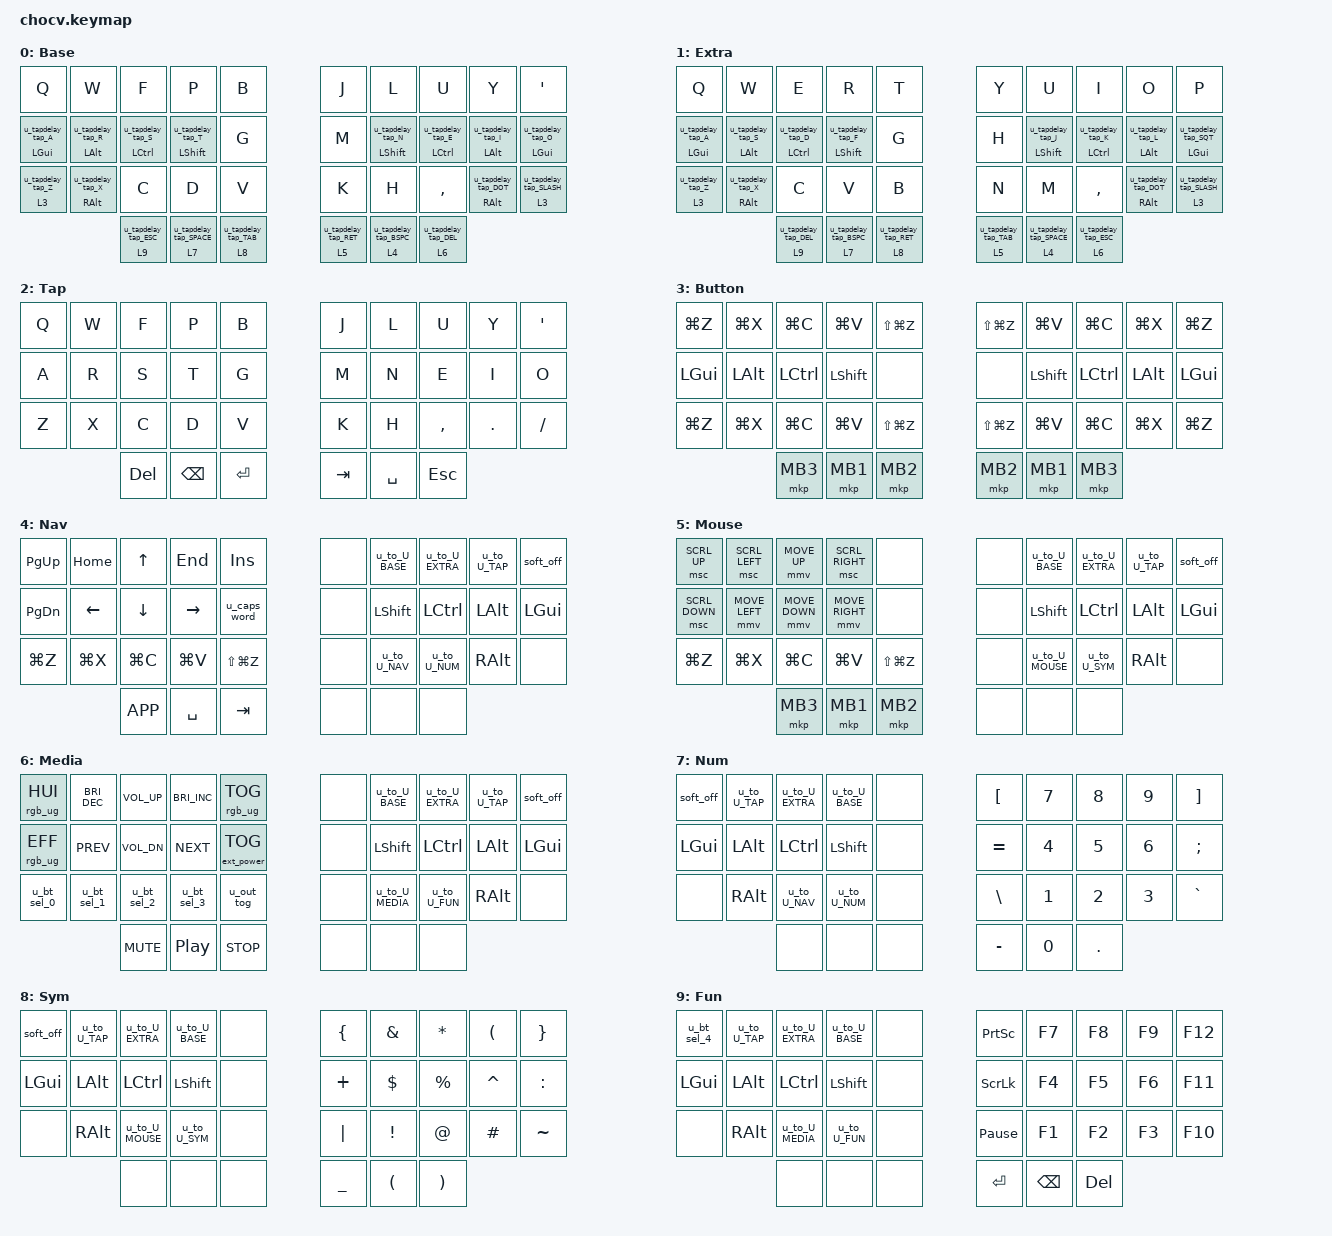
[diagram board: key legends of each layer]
#include <behaviors/mouse_keys.dtsi>
#include <behaviors.dtsi>
#include <dt-bindings/zmk/bt.h>
#include <dt-bindings/zmk/ext_power.h>
#include <dt-bindings/zmk/keys.h>
#include <dt-bindings/zmk/outputs.h>
#include <dt-bindings/zmk/pointing.h>
#include <dt-bindings/zmk/rgb.h>

/ {
    keymap {
        compatible = "zmk,keymap";

        BASE {
            display-name = "Base";
            bindings = <
&kp Q                    &kp W                    &kp F                     &kp P                     &kp B                     &kp J                   &kp L                     &kp U                     &kp Y                      &kp SQT
&u_tapdelay_mt_A LGUI 0  &u_tapdelay_mt_R LALT 0  &u_tapdelay_mt_S LCTRL 0  &u_tapdelay_mt_T LSHFT 0  &kp G                     &kp M                   &u_tapdelay_mt_N LSHFT 0  &u_tapdelay_mt_E LCTRL 0  &u_tapdelay_mt_I LALT 0    &u_tapdelay_mt_O LGUI 0
&u_tapdelay_lt_Z 3 0     &u_tapdelay_mt_X RALT 0  &kp C                     &kp D                     &kp V                     &kp K                   &kp H                     &kp COMMA                 &u_tapdelay_mt_DOT RALT 0  &u_tapdelay_lt_SLASH 3 0
                                                  &u_tapdelay_lt_ESC 9 0    &u_tapdelay_lt_SPACE 7 0  &u_tapdelay_lt_TAB 8 0    &u_tapdelay_lt_RET 5 0  &u_tapdelay_lt_BSPC 4 0   &u_tapdelay_lt_DEL 6 0
            >;
        };

        EXTRA {
            display-name = "Extra";
            bindings = <
&kp Q                    &kp W                    &kp E                     &kp R                     &kp T                     &kp Y                   &kp U                     &kp I                     &kp O                      &kp P
&u_tapdelay_mt_A LGUI 0  &u_tapdelay_mt_S LALT 0  &u_tapdelay_mt_D LCTRL 0  &u_tapdelay_mt_F LSHFT 0  &kp G                     &kp H                   &u_tapdelay_mt_J LSHFT 0  &u_tapdelay_mt_K LCTRL 0  &u_tapdelay_mt_L LALT 0    &u_tapdelay_mt_SQT LGUI 0
&u_tapdelay_lt_Z 3 0     &u_tapdelay_mt_X RALT 0  &kp C                     &kp V                     &kp B                     &kp N                   &kp M                     &kp COMMA                 &u_tapdelay_mt_DOT RALT 0  &u_tapdelay_lt_SLASH 3 0
                                                  &u_tapdelay_lt_DEL 9 0    &u_tapdelay_lt_BSPC 7 0   &u_tapdelay_lt_RET 8 0    &u_tapdelay_lt_TAB 5 0  &u_tapdelay_lt_SPACE 4 0  &u_tapdelay_lt_ESC 6 0
            >;
        };

        TAP {
            display-name = "Tap";
            bindings = <
&kp Q  &kp W  &kp F    &kp P     &kp B      &kp J    &kp L      &kp U      &kp Y    &kp SQT
&kp A  &kp R  &kp S    &kp T     &kp G      &kp M    &kp N      &kp E      &kp I    &kp O
&kp Z  &kp X  &kp C    &kp D     &kp V      &kp K    &kp H      &kp COMMA  &kp DOT  &kp SLASH
              &kp DEL  &kp BSPC  &kp RET    &kp TAB  &kp SPACE  &kp ESC
            >;
        };

        BUTTON {
            display-name = "Button";
            bindings = <
&kp LG(Z)  &kp LG(X)  &kp LG(C)  &kp LG(V)  &kp LS(LG(Z))    &kp LS(LG(Z))  &kp LG(V)  &kp LG(C)  &kp LG(X)  &kp LG(Z)
&kp LGUI   &kp LALT   &kp LCTRL  &kp LSHFT  &none            &none          &kp LSHFT  &kp LCTRL  &kp LALT   &kp LGUI
&kp LG(Z)  &kp LG(X)  &kp LG(C)  &kp LG(V)  &kp LS(LG(Z))    &kp LS(LG(Z))  &kp LG(V)  &kp LG(C)  &kp LG(X)  &kp LG(Z)
                      &mkp MB3   &mkp MB1   &mkp MB2         &mkp MB2       &mkp MB1   &mkp MB3
            >;
        };

        NAV {
            display-name = "Nav";
            bindings = <
&kp PG_UP  &kp HOME   &kp UP     &kp END    &kp INS          &none  &u_to_U_BASE  &u_to_U_EXTRA  &u_to_U_TAP  &soft_off
&kp PG_DN  &kp LEFT   &kp DOWN   &kp RIGHT  &u_caps_word     &none  &kp LSHFT     &kp LCTRL      &kp LALT     &kp LGUI
&kp LG(Z)  &kp LG(X)  &kp LG(C)  &kp LG(V)  &kp LS(LG(Z))    &none  &u_to_U_NAV   &u_to_U_NUM    &kp RALT     &none
                      &kp K_APP  &kp SPACE  &kp TAB          &none  &none         &none
            >;
        };

        MOUSE {
            display-name = "Mouse";
            bindings = <
&msc SCRL_UP    &msc SCRL_LEFT  &mmv MOVE_UP    &msc SCRL_RIGHT  &none            &none  &u_to_U_BASE   &u_to_U_EXTRA  &u_to_U_TAP  &soft_off
&msc SCRL_DOWN  &mmv MOVE_LEFT  &mmv MOVE_DOWN  &mmv MOVE_RIGHT  &none            &none  &kp LSHFT      &kp LCTRL      &kp LALT     &kp LGUI
&kp LG(Z)       &kp LG(X)       &kp LG(C)       &kp LG(V)        &kp LS(LG(Z))    &none  &u_to_U_MOUSE  &u_to_U_SYM    &kp RALT     &none
                                &mkp MB3        &mkp MB1         &mkp MB2         &none  &none          &none
            >;
        };

        MEDIA {
            display-name = "Media";
            bindings = <
&rgb_ug RGB_HUI  &kp C_BRIGHTNESS_DEC  &kp C_VOL_UP  &kp C_BRIGHTNESS_INC  &rgb_ug RGB_TOG      &none  &u_to_U_BASE   &u_to_U_EXTRA  &u_to_U_TAP  &soft_off
&rgb_ug RGB_EFF  &kp C_PREV            &kp C_VOL_DN  &kp C_NEXT            &ext_power EP_TOG    &none  &kp LSHFT      &kp LCTRL      &kp LALT     &kp LGUI
&u_bt_sel_0      &u_bt_sel_1           &u_bt_sel_2   &u_bt_sel_3           &u_out_tog           &none  &u_to_U_MEDIA  &u_to_U_FUN    &kp RALT     &none
                                       &kp C_MUTE    &kp C_PP              &kp C_STOP           &none  &none          &none
            >;
        };

        NUM {
            display-name = "Num";
            bindings = <
&soft_off  &u_to_U_TAP  &u_to_U_EXTRA  &u_to_U_BASE  &none    &kp LBKT   &kp N7  &kp N8   &kp N9  &kp RBKT
&kp LGUI   &kp LALT     &kp LCTRL      &kp LSHFT     &none    &kp EQUAL  &kp N4  &kp N5   &kp N6  &kp SEMI
&none      &kp RALT     &u_to_U_NAV    &u_to_U_NUM   &none    &kp BSLH   &kp N1  &kp N2   &kp N3  &kp GRAVE
                        &none          &none         &none    &kp MINUS  &kp N0  &kp DOT
            >;
        };

        SYM {
            display-name = "Sym";
            bindings = <
&soft_off  &u_to_U_TAP  &u_to_U_EXTRA  &u_to_U_BASE  &none    &kp LBRC   &kp AMPS  &kp ASTRK  &kp LPAR   &kp RBRC
&kp LGUI   &kp LALT     &kp LCTRL      &kp LSHFT     &none    &kp PLUS   &kp DLLR  &kp PRCNT  &kp CARET  &kp COLON
&none      &kp RALT     &u_to_U_MOUSE  &u_to_U_SYM   &none    &kp PIPE   &kp EXCL  &kp AT     &kp HASH   &kp TILDE
                        &none          &none         &none    &kp UNDER  &kp LPAR  &kp RPAR
            >;
        };

        FUN {
            display-name = "Fun";
            bindings = <
&u_bt_sel_4  &u_to_U_TAP  &u_to_U_EXTRA  &u_to_U_BASE  &none    &kp PSCRN        &kp F7    &kp F8   &kp F9  &kp F12
&kp LGUI     &kp LALT     &kp LCTRL      &kp LSHFT     &none    &kp SLCK         &kp F4    &kp F5   &kp F6  &kp F11
&none        &kp RALT     &u_to_U_MEDIA  &u_to_U_FUN   &none    &kp PAUSE_BREAK  &kp F1    &kp F2   &kp F3  &kp F10
                          &none          &none         &none    &kp RET          &kp BSPC  &kp DEL
            >;
        };
    };
};

/ {
    macros {
        u_macro_u_bt_sel_0: u_macro_u_bt_sel_0 {
            compatible = "zmk,behavior-macro";
            #binding-cells = <0>;
            wait-ms = <0>;
            bindings = <&bt BT_SEL 0 &bt BT_CLR>;
        };
    };
};

/ {
    behaviors {
        lpar_lt: lpar_lt {
            compatible = "zmk,behavior-mod-morph";
            #binding-cells = <0>;
            bindings = <&kp LEFT_PARENTHESIS>, <&kp LESS_THAN>;

            mods = <(MOD_LSFT|MOD_RSFT)>;
        };

        rpar_gt: rpar_gt {
            compatible = "zmk,behavior-mod-morph";
            #binding-cells = <0>;
            bindings = <&kp RIGHT_PARENTHESIS>, <&kp GREATER_THAN>;

            mods = <(MOD_LSFT|MOD_RSFT)>;
        };
    };
};

/ {
    behaviors {
        u_bt_sel_0: u_bt_sel_0 {
            compatible = "zmk,behavior-mod-morph";
            #binding-cells = <0>;
            bindings = <&bt BT_SEL 0>, <&u_macro_u_bt_sel_0>;

            mods = <(MOD_LSFT|MOD_RSFT)>;
        };
    };
};

/ {
    macros {
        u_macro_u_bt_sel_1: u_macro_u_bt_sel_1 {
            compatible = "zmk,behavior-macro";
            #binding-cells = <0>;
            wait-ms = <0>;
            bindings = <&bt BT_SEL 1 &bt BT_CLR>;
        };
    };
};

/ {
    behaviors {
        u_bt_sel_1: u_bt_sel_1 {
            compatible = "zmk,behavior-mod-morph";
            #binding-cells = <0>;
            bindings = <&bt BT_SEL 1>, <&u_macro_u_bt_sel_1>;

            mods = <(MOD_LSFT|MOD_RSFT)>;
        };
    };
};

/ {
    macros {
        u_macro_u_bt_sel_2: u_macro_u_bt_sel_2 {
            compatible = "zmk,behavior-macro";
            #binding-cells = <0>;
            wait-ms = <0>;
            bindings = <&bt BT_SEL 2 &bt BT_CLR>;
        };
    };
};

/ {
    behaviors {
        u_bt_sel_2: u_bt_sel_2 {
            compatible = "zmk,behavior-mod-morph";
            #binding-cells = <0>;
            bindings = <&bt BT_SEL 2>, <&u_macro_u_bt_sel_2>;

            mods = <(MOD_LSFT|MOD_RSFT)>;
        };
    };
};

/ {
    macros {
        u_macro_u_bt_sel_3: u_macro_u_bt_sel_3 {
            compatible = "zmk,behavior-macro";
            #binding-cells = <0>;
            wait-ms = <0>;
            bindings = <&bt BT_SEL 3 &bt BT_CLR>;
        };
    };
};

/ {
    behaviors {
        u_bt_sel_3: u_bt_sel_3 {
            compatible = "zmk,behavior-mod-morph";
            #binding-cells = <0>;
            bindings = <&bt BT_SEL 3>, <&u_macro_u_bt_sel_3>;

            mods = <(MOD_LSFT|MOD_RSFT)>;
        };
    };
};

/ {
    macros {
        u_macro_u_bt_sel_4: u_macro_u_bt_sel_4 {
            compatible = "zmk,behavior-macro";
            #binding-cells = <0>;
            wait-ms = <0>;
            bindings = <&bt BT_SEL 4 &bt BT_CLR>;
        };
    };
};

/ {
    behaviors {
        u_bt_sel_4: u_bt_sel_4 {
            compatible = "zmk,behavior-mod-morph";
            #binding-cells = <0>;
            bindings = <&bt BT_SEL 4>, <&u_macro_u_bt_sel_4>;

            mods = <(MOD_LSFT|MOD_RSFT)>;
        };
    };
};

/ {
    behaviors {
        u_out_tog: u_out_tog {
            compatible = "zmk,behavior-mod-morph";
            #binding-cells = <0>;
            bindings = <&out OUT_TOG>, <&out OUT_USB>;

            mods = <(MOD_LSFT|MOD_RSFT)>;
        };
    };
};

/ {
    behaviors {
        u_caps_word: u_caps_word {
            compatible = "zmk,behavior-mod-morph";
            #binding-cells = <0>;
            bindings = <&caps_word>, <&kp CAPS>;

            mods = <(MOD_LSFT|MOD_RSFT)>;
        };
    };
};

/ {
    behaviors {
        u_to_U_BASE: u_to_U_BASE {
            compatible = "zmk,behavior-tap-dance";
            #binding-cells = <0>;
            tapping-term-ms = <200>;
            bindings = <&none>, <&to 0>;
        };
    };
};

/ {
    behaviors {
        u_to_U_EXTRA: u_to_U_EXTRA {
            compatible = "zmk,behavior-tap-dance";
            #binding-cells = <0>;
            tapping-term-ms = <200>;
            bindings = <&none>, <&to 1>;
        };
    };
};

/ {
    behaviors {
        u_to_U_TAP: u_to_U_TAP {
            compatible = "zmk,behavior-tap-dance";
            #binding-cells = <0>;
            tapping-term-ms = <200>;
            bindings = <&none>, <&to 2>;
        };
    };
};

/ {
    behaviors {
        u_to_U_BUTTON: u_to_U_BUTTON {
            compatible = "zmk,behavior-tap-dance";
            #binding-cells = <0>;
            tapping-term-ms = <200>;
            bindings = <&none>, <&to 3>;
        };
    };
};

/ {
    behaviors {
        u_to_U_NAV: u_to_U_NAV {
            compatible = "zmk,behavior-tap-dance";
            #binding-cells = <0>;
            tapping-term-ms = <200>;
            bindings = <&none>, <&to 4>;
        };
    };
};

/ {
    behaviors {
        u_to_U_MOUSE: u_to_U_MOUSE {
            compatible = "zmk,behavior-tap-dance";
            #binding-cells = <0>;
            tapping-term-ms = <200>;
            bindings = <&none>, <&to 5>;
        };
    };
};

/ {
    behaviors {
        u_to_U_MEDIA: u_to_U_MEDIA {
            compatible = "zmk,behavior-tap-dance";
            #binding-cells = <0>;
            tapping-term-ms = <200>;
            bindings = <&none>, <&to 6>;
        };
    };
};

/ {
    behaviors {
        u_to_U_NUM: u_to_U_NUM {
            compatible = "zmk,behavior-tap-dance";
            #binding-cells = <0>;
            tapping-term-ms = <200>;
            bindings = <&none>, <&to 7>;
        };
    };
};

/ {
    behaviors {
        u_to_U_SYM: u_to_U_SYM {
            compatible = "zmk,behavior-tap-dance";
            #binding-cells = <0>;
            tapping-term-ms = <200>;
            bindings = <&none>, <&to 8>;
        };
    };
};

/ {
    behaviors {
        u_to_U_FUN: u_to_U_FUN {
            compatible = "zmk,behavior-tap-dance";
            #binding-cells = <0>;
            tapping-term-ms = <200>;
            bindings = <&none>, <&to 9>;
        };
    };
};

&mmv {
    acceleration-exponent = <1>;
    time-to-max-speed-ms = <1500>;
    delay-ms = <0>;
};

/ {
    combos {
        compatible = "zmk,combos";

        thumbcombos_U_BASE_LEFT {
            layers = <0>;
            key-positions = <31 32>;
            bindings = <&lt 9 ESC>;
            timeout-ms = <200>;
        };

        thumbcombos_U_EXTRA_LEFT {
            layers = <1>;
            key-positions = <31 32>;
            bindings = <&lt 9 ESC>;
            timeout-ms = <200>;
        };

        thumbcombos_U_BUTTON_LEFT {
            layers = <3>;
            key-positions = <31 32>;
            bindings = <&mkp MB3>;
            timeout-ms = <200>;
        };

        thumbcombos_U_NAV_LEFT {
            layers = <4>;
            key-positions = <31 32>;
            bindings = <&kp K_APP>;
            timeout-ms = <200>;
        };

        thumbcombos_U_MOUSE_LEFT {
            layers = <5>;
            key-positions = <31 32>;
            bindings = <&mkp MB3>;
            timeout-ms = <200>;
        };

        thumbcombos_U_MEDIA_LEFT {
            layers = <6>;
            key-positions = <31 32>;
            bindings = <&kp C_MUTE>;
            timeout-ms = <200>;
        };

        thumbcombos_U_BASE_RIGHT {
            layers = <0>;
            key-positions = <33 34>;
            bindings = <&lt 6 DEL>;
            timeout-ms = <200>;
        };

        thumbcombos_U_EXTRA_RIGHT {
            layers = <1>;
            key-positions = <33 34>;
            bindings = <&lt 6 DEL>;
            timeout-ms = <200>;
        };

        thumbcombos_U_BUTTON_RIGHT {
            layers = <3>;
            key-positions = <33 34>;
            bindings = <&mkp MB3>;
            timeout-ms = <200>;
        };

        thumbcombos_U_NUM_RIGHT {
            layers = <7>;
            key-positions = <33 34>;
            bindings = <&kp DOT>;
            timeout-ms = <200>;
        };

        thumbcombos_U_SYM_RIGHT {
            layers = <8>;
            key-positions = <33 34>;
            bindings = <&kp RPAR>;
            timeout-ms = <200>;
        };

        thumbcombos_U_FUN_RIGHT {
            layers = <9>;
            key-positions = <33 34>;
            bindings = <&kp DEL>;
            timeout-ms = <200>;
        };

        copy {
            bindings = <&c_c>;
            key-positions = <21 22>;
            layers = <0>;
        };

        paste {
            bindings = <&c_v>;
            key-positions = <23 22>;
            layers = <0>;
        };

        esc_combo {
            bindings = <&kp ESC>;
            key-positions = <2 1>;
            layers = <0>;
        };

        tab_combo {
            bindings = <&kp TAB>;
            key-positions = <3 2>;
            layers = <0>;
        };

        l_par {
            bindings = <&lpar_lt>;
            key-positions = <6 7>;
            layers = <0>;
        };

        r_par {
            bindings = <&rpar_gt>;
            key-positions = <7 8>;
            layers = <0>;
        };
    };
};

/ {
    macros {
        u_tapdelay_tap_A: u_tapdelay_tap_A {
            compatible = "zmk,behavior-macro";
            #binding-cells = <0>;
            bindings = <&macro_press>, <&kp A>, <&macro_release>, <&kp A>;
        };
    };
};

/ {
    behaviors {
        u_tapdelay_mt_A: u_tapdelay_mt_A {
            compatible = "zmk,behavior-hold-tap";
            #binding-cells = <2>;
            tapping-term-ms = <200>;
            flavor = "tap-preferred";
            bindings = <&kp>, <&u_tapdelay_tap_A>;
        };
    };
};

/ {
    behaviors {
        u_tapdelay_lt_A: u_tapdelay_lt_A {
            compatible = "zmk,behavior-hold-tap";
            #binding-cells = <2>;
            tapping-term-ms = <200>;
            flavor = "tap-preferred";
            bindings = <&mo>, <&u_tapdelay_tap_A>;
        };
    };
};

/ {
    macros {
        u_tapdelay_tap_B: u_tapdelay_tap_B {
            compatible = "zmk,behavior-macro";
            #binding-cells = <0>;
            bindings = <&macro_press>, <&kp B>, <&macro_release>, <&kp B>;
        };
    };
};

/ {
    behaviors {
        u_tapdelay_mt_B: u_tapdelay_mt_B {
            compatible = "zmk,behavior-hold-tap";
            #binding-cells = <2>;
            tapping-term-ms = <200>;
            flavor = "tap-preferred";
            bindings = <&kp>, <&u_tapdelay_tap_B>;
        };
    };
};

/ {
    behaviors {
        u_tapdelay_lt_B: u_tapdelay_lt_B {
            compatible = "zmk,behavior-hold-tap";
            #binding-cells = <2>;
            tapping-term-ms = <200>;
            flavor = "tap-preferred";
            bindings = <&mo>, <&u_tapdelay_tap_B>;
        };
    };
};

/ {
    macros {
        u_tapdelay_tap_C: u_tapdelay_tap_C {
            compatible = "zmk,behavior-macro";
            #binding-cells = <0>;
            bindings = <&macro_press>, <&kp C>, <&macro_release>, <&kp C>;
        };
    };
};

/ {
    behaviors {
        u_tapdelay_mt_C: u_tapdelay_mt_C {
            compatible = "zmk,behavior-hold-tap";
            #binding-cells = <2>;
            tapping-term-ms = <200>;
            flavor = "tap-preferred";
            bindings = <&kp>, <&u_tapdelay_tap_C>;
        };
    };
};

/ {
    behaviors {
        u_tapdelay_lt_C: u_tapdelay_lt_C {
            compatible = "zmk,behavior-hold-tap";
            #binding-cells = <2>;
            tapping-term-ms = <200>;
            flavor = "tap-preferred";
            bindings = <&mo>, <&u_tapdelay_tap_C>;
        };
    };
};

/ {
    macros {
        u_tapdelay_tap_D: u_tapdelay_tap_D {
            compatible = "zmk,behavior-macro";
            #binding-cells = <0>;
            bindings = <&macro_press>, <&kp D>, <&macro_release>, <&kp D>;
        };
    };
};

/ {
    behaviors {
        u_tapdelay_mt_D: u_tapdelay_mt_D {
            compatible = "zmk,behavior-hold-tap";
            #binding-cells = <2>;
            tapping-term-ms = <200>;
            flavor = "tap-preferred";
            bindings = <&kp>, <&u_tapdelay_tap_D>;
        };
    };
};

/ {
    behaviors {
        u_tapdelay_lt_D: u_tapdelay_lt_D {
            compatible = "zmk,behavior-hold-tap";
            #binding-cells = <2>;
            tapping-term-ms = <200>;
            flavor = "tap-preferred";
            bindings = <&mo>, <&u_tapdelay_tap_D>;
        };
    };
};

/ {
    macros {
        u_tapdelay_tap_E: u_tapdelay_tap_E {
            compatible = "zmk,behavior-macro";
            #binding-cells = <0>;
            bindings = <&macro_press>, <&kp E>, <&macro_release>, <&kp E>;
        };
    };
};

/ {
    behaviors {
        u_tapdelay_mt_E: u_tapdelay_mt_E {
            compatible = "zmk,behavior-hold-tap";
            #binding-cells = <2>;
            tapping-term-ms = <200>;
            flavor = "tap-preferred";
            bindings = <&kp>, <&u_tapdelay_tap_E>;
        };
    };
};

/ {
    behaviors {
        u_tapdelay_lt_E: u_tapdelay_lt_E {
            compatible = "zmk,behavior-hold-tap";
            #binding-cells = <2>;
            tapping-term-ms = <200>;
            flavor = "tap-preferred";
            bindings = <&mo>, <&u_tapdelay_tap_E>;
        };
    };
};

/ {
    macros {
        u_tapdelay_tap_F: u_tapdelay_tap_F {
            compatible = "zmk,behavior-macro";
            #binding-cells = <0>;
            bindings = <&macro_press>, <&kp F>, <&macro_release>, <&kp F>;
        };
    };
};

/ {
    behaviors {
        u_tapdelay_mt_F: u_tapdelay_mt_F {
            compatible = "zmk,behavior-hold-tap";
            #binding-cells = <2>;
            tapping-term-ms = <200>;
            flavor = "tap-preferred";
            bindings = <&kp>, <&u_tapdelay_tap_F>;
        };
    };
};

/ {
    behaviors {
        u_tapdelay_lt_F: u_tapdelay_lt_F {
            compatible = "zmk,behavior-hold-tap";
            #binding-cells = <2>;
            tapping-term-ms = <200>;
            flavor = "tap-preferred";
            bindings = <&mo>, <&u_tapdelay_tap_F>;
        };
    };
};

/ {
    macros {
        u_tapdelay_tap_G: u_tapdelay_tap_G {
            compatible = "zmk,behavior-macro";
            #binding-cells = <0>;
            bindings = <&macro_press>, <&kp G>, <&macro_release>, <&kp G>;
        };
    };
};

/ {
    behaviors {
        u_tapdelay_mt_G: u_tapdelay_mt_G {
            compatible = "zmk,behavior-hold-tap";
            #binding-cells = <2>;
            tapping-term-ms = <200>;
            flavor = "tap-preferred";
            bindings = <&kp>, <&u_tapdelay_tap_G>;
        };
    };
};

/ {
    behaviors {
        u_tapdelay_lt_G: u_tapdelay_lt_G {
            compatible = "zmk,behavior-hold-tap";
            #binding-cells = <2>;
            tapping-term-ms = <200>;
            flavor = "tap-preferred";
            bindings = <&mo>, <&u_tapdelay_tap_G>;
        };
    };
};

/ {
    macros {
        u_tapdelay_tap_H: u_tapdelay_tap_H {
            compatible = "zmk,behavior-macro";
            #binding-cells = <0>;
            bindings = <&macro_press>, <&kp H>, <&macro_release>, <&kp H>;
        };
    };
};

/ {
    behaviors {
        u_tapdelay_mt_H: u_tapdelay_mt_H {
            compatible = "zmk,behavior-hold-tap";
            #binding-cells = <2>;
            tapping-term-ms = <200>;
            flavor = "tap-preferred";
            bindings = <&kp>, <&u_tapdelay_tap_H>;
        };
    };
};

/ {
    behaviors {
        u_tapdelay_lt_H: u_tapdelay_lt_H {
            compatible = "zmk,behavior-hold-tap";
            #binding-cells = <2>;
            tapping-term-ms = <200>;
            flavor = "tap-preferred";
            bindings = <&mo>, <&u_tapdelay_tap_H>;
        };
    };
};

/ {
    macros {
        u_tapdelay_tap_I: u_tapdelay_tap_I {
            compatible = "zmk,behavior-macro";
            #binding-cells = <0>;
            bindings = <&macro_press>, <&kp I>, <&macro_release>, <&kp I>;
        };
    };
};

/ {
    behaviors {
        u_tapdelay_mt_I: u_tapdelay_mt_I {
            compatible = "zmk,behavior-hold-tap";
            #binding-cells = <2>;
            tapping-term-ms = <200>;
            flavor = "tap-preferred";
            bindings = <&kp>, <&u_tapdelay_tap_I>;
        };
    };
};

/ {
    behaviors {
        u_tapdelay_lt_I: u_tapdelay_lt_I {
            compatible = "zmk,behavior-hold-tap";
            #binding-cells = <2>;
            tapping-term-ms = <200>;
            flavor = "tap-preferred";
            bindings = <&mo>, <&u_tapdelay_tap_I>;
        };
    };
};

/ {
    macros {
        u_tapdelay_tap_J: u_tapdelay_tap_J {
            compatible = "zmk,behavior-macro";
            #binding-cells = <0>;
            bindings = <&macro_press>, <&kp J>, <&macro_release>, <&kp J>;
        };
    };
};

/ {
    behaviors {
        u_tapdelay_mt_J: u_tapdelay_mt_J {
            compatible = "zmk,behavior-hold-tap";
            #binding-cells = <2>;
            tapping-term-ms = <200>;
            flavor = "tap-preferred";
            bindings = <&kp>, <&u_tapdelay_tap_J>;
        };
    };
};

/ {
    behaviors {
        u_tapdelay_lt_J: u_tapdelay_lt_J {
            compatible = "zmk,behavior-hold-tap";
            #binding-cells = <2>;
            tapping-term-ms = <200>;
            flavor = "tap-preferred";
            bindings = <&mo>, <&u_tapdelay_tap_J>;
        };
    };
};

/ {
    macros {
        u_tapdelay_tap_K: u_tapdelay_tap_K {
            compatible = "zmk,behavior-macro";
            #binding-cells = <0>;
            bindings = <&macro_press>, <&kp K>, <&macro_release>, <&kp K>;
        };
    };
};

/ {
    behaviors {
        u_tapdelay_mt_K: u_tapdelay_mt_K {
            compatible = "zmk,behavior-hold-tap";
            #binding-cells = <2>;
            tapping-term-ms = <200>;
            flavor = "tap-preferred";
            bindings = <&kp>, <&u_tapdelay_tap_K>;
        };
    };
};

/ {
    behaviors {
        u_tapdelay_lt_K: u_tapdelay_lt_K {
            compatible = "zmk,behavior-hold-tap";
            #binding-cells = <2>;
            tapping-term-ms = <200>;
            flavor = "tap-preferred";
            bindings = <&mo>, <&u_tapdelay_tap_K>;
        };
    };
};

/ {
    macros {
        u_tapdelay_tap_L: u_tapdelay_tap_L {
            compatible = "zmk,behavior-macro";
            #binding-cells = <0>;
            bindings = <&macro_press>, <&kp L>, <&macro_release>, <&kp L>;
        };
    };
};

/ {
    behaviors {
        u_tapdelay_mt_L: u_tapdelay_mt_L {
            compatible = "zmk,behavior-hold-tap";
            #binding-cells = <2>;
            tapping-term-ms = <200>;
            flavor = "tap-preferred";
            bindings = <&kp>, <&u_tapdelay_tap_L>;
        };
    };
};

/ {
    behaviors {
        u_tapdelay_lt_L: u_tapdelay_lt_L {
            compatible = "zmk,behavior-hold-tap";
            #binding-cells = <2>;
            tapping-term-ms = <200>;
            flavor = "tap-preferred";
            bindings = <&mo>, <&u_tapdelay_tap_L>;
        };
    };
};

/ {
    macros {
        u_tapdelay_tap_M: u_tapdelay_tap_M {
            compatible = "zmk,behavior-macro";
            #binding-cells = <0>;
            bindings = <&macro_press>, <&kp M>, <&macro_release>, <&kp M>;
        };
    };
};

/ {
    behaviors {
        u_tapdelay_mt_M: u_tapdelay_mt_M {
            compatible = "zmk,behavior-hold-tap";
            #binding-cells = <2>;
            tapping-term-ms = <200>;
            flavor = "tap-preferred";
            bindings = <&kp>, <&u_tapdelay_tap_M>;
        };
    };
};

/ {
    behaviors {
        u_tapdelay_lt_M: u_tapdelay_lt_M {
            compatible = "zmk,behavior-hold-tap";
            #binding-cells = <2>;
            tapping-term-ms = <200>;
            flavor = "tap-preferred";
            bindings = <&mo>, <&u_tapdelay_tap_M>;
        };
    };
};

/ {
    macros {
        u_tapdelay_tap_N: u_tapdelay_tap_N {
            compatible = "zmk,behavior-macro";
            #binding-cells = <0>;
            bindings = <&macro_press>, <&kp N>, <&macro_release>, <&kp N>;
        };
    };
};

/ {
    behaviors {
        u_tapdelay_mt_N: u_tapdelay_mt_N {
            compatible = "zmk,behavior-hold-tap";
            #binding-cells = <2>;
            tapping-term-ms = <200>;
            flavor = "tap-preferred";
            bindings = <&kp>, <&u_tapdelay_tap_N>;
        };
    };
};

/ {
    behaviors {
        u_tapdelay_lt_N: u_tapdelay_lt_N {
            compatible = "zmk,behavior-hold-tap";
            #binding-cells = <2>;
            tapping-term-ms = <200>;
            flavor = "tap-preferred";
            bindings = <&mo>, <&u_tapdelay_tap_N>;
        };
    };
};

/ {
    macros {
        u_tapdelay_tap_O: u_tapdelay_tap_O {
            compatible = "zmk,behavior-macro";
            #binding-cells = <0>;
            bindings = <&macro_press>, <&kp O>, <&macro_release>, <&kp O>;
        };
    };
};

/ {
    behaviors {
        u_tapdelay_mt_O: u_tapdelay_mt_O {
            compatible = "zmk,behavior-hold-tap";
            #binding-cells = <2>;
            tapping-term-ms = <200>;
            flavor = "tap-preferred";
            bindings = <&kp>, <&u_tapdelay_tap_O>;
        };
    };
};

/ {
    behaviors {
        u_tapdelay_lt_O: u_tapdelay_lt_O {
            compatible = "zmk,behavior-hold-tap";
            #binding-cells = <2>;
            tapping-term-ms = <200>;
            flavor = "tap-preferred";
            bindings = <&mo>, <&u_tapdelay_tap_O>;
        };
    };
};

/ {
    macros {
        u_tapdelay_tap_P: u_tapdelay_tap_P {
            compatible = "zmk,behavior-macro";
            #binding-cells = <0>;
            bindings = <&macro_press>, <&kp P>, <&macro_release>, <&kp P>;
        };
    };
};

/ {
    behaviors {
        u_tapdelay_mt_P: u_tapdelay_mt_P {
            compatible = "zmk,behavior-hold-tap";
            #binding-cells = <2>;
            tapping-term-ms = <200>;
            flavor = "tap-preferred";
            bindings = <&kp>, <&u_tapdelay_tap_P>;
        };
    };
};

/ {
    behaviors {
        u_tapdelay_lt_P: u_tapdelay_lt_P {
            compatible = "zmk,behavior-hold-tap";
            #binding-cells = <2>;
            tapping-term-ms = <200>;
            flavor = "tap-preferred";
            bindings = <&mo>, <&u_tapdelay_tap_P>;
        };
    };
};

/ {
    macros {
        u_tapdelay_tap_Q: u_tapdelay_tap_Q {
            compatible = "zmk,behavior-macro";
            #binding-cells = <0>;
            bindings = <&macro_press>, <&kp Q>, <&macro_release>, <&kp Q>;
        };
    };
};

/ {
    behaviors {
        u_tapdelay_mt_Q: u_tapdelay_mt_Q {
            compatible = "zmk,behavior-hold-tap";
            #binding-cells = <2>;
            tapping-term-ms = <200>;
            flavor = "tap-preferred";
            bindings = <&kp>, <&u_tapdelay_tap_Q>;
        };
    };
};

/ {
    behaviors {
        u_tapdelay_lt_Q: u_tapdelay_lt_Q {
            compatible = "zmk,behavior-hold-tap";
            #binding-cells = <2>;
            tapping-term-ms = <200>;
            flavor = "tap-preferred";
            bindings = <&mo>, <&u_tapdelay_tap_Q>;
        };
    };
};

/ {
    macros {
        u_tapdelay_tap_R: u_tapdelay_tap_R {
            compatible = "zmk,behavior-macro";
            #binding-cells = <0>;
            bindings = <&macro_press>, <&kp R>, <&macro_release>, <&kp R>;
        };
    };
};

/ {
    behaviors {
        u_tapdelay_mt_R: u_tapdelay_mt_R {
            compatible = "zmk,behavior-hold-tap";
            #binding-cells = <2>;
            tapping-term-ms = <200>;
            flavor = "tap-preferred";
            bindings = <&kp>, <&u_tapdelay_tap_R>;
        };
    };
};

/ {
    behaviors {
        u_tapdelay_lt_R: u_tapdelay_lt_R {
            compatible = "zmk,behavior-hold-tap";
            #binding-cells = <2>;
            tapping-term-ms = <200>;
            flavor = "tap-preferred";
            bindings = <&mo>, <&u_tapdelay_tap_R>;
        };
    };
};

/ {
    macros {
        u_tapdelay_tap_S: u_tapdelay_tap_S {
            compatible = "zmk,behavior-macro";
            #binding-cells = <0>;
            bindings = <&macro_press>, <&kp S>, <&macro_release>, <&kp S>;
        };
    };
};

/ {
    behaviors {
        u_tapdelay_mt_S: u_tapdelay_mt_S {
            compatible = "zmk,behavior-hold-tap";
            #binding-cells = <2>;
            tapping-term-ms = <200>;
            flavor = "tap-preferred";
            bindings = <&kp>, <&u_tapdelay_tap_S>;
        };
    };
};

/ {
    behaviors {
        u_tapdelay_lt_S: u_tapdelay_lt_S {
            compatible = "zmk,behavior-hold-tap";
            #binding-cells = <2>;
            tapping-term-ms = <200>;
            flavor = "tap-preferred";
            bindings = <&mo>, <&u_tapdelay_tap_S>;
        };
    };
};

/ {
    macros {
        u_tapdelay_tap_T: u_tapdelay_tap_T {
            compatible = "zmk,behavior-macro";
            #binding-cells = <0>;
            bindings = <&macro_press>, <&kp T>, <&macro_release>, <&kp T>;
        };
    };
};

/ {
    behaviors {
        u_tapdelay_mt_T: u_tapdelay_mt_T {
            compatible = "zmk,behavior-hold-tap";
            #binding-cells = <2>;
            tapping-term-ms = <200>;
            flavor = "tap-preferred";
            bindings = <&kp>, <&u_tapdelay_tap_T>;
        };
    };
};

/ {
    behaviors {
        u_tapdelay_lt_T: u_tapdelay_lt_T {
            compatible = "zmk,behavior-hold-tap";
            #binding-cells = <2>;
            tapping-term-ms = <200>;
            flavor = "tap-preferred";
            bindings = <&mo>, <&u_tapdelay_tap_T>;
        };
    };
};

/ {
    macros {
        u_tapdelay_tap_U: u_tapdelay_tap_U {
            compatible = "zmk,behavior-macro";
            #binding-cells = <0>;
            bindings = <&macro_press>, <&kp U>, <&macro_release>, <&kp U>;
        };
    };
};

/ {
    behaviors {
        u_tapdelay_mt_U: u_tapdelay_mt_U {
            compatible = "zmk,behavior-hold-tap";
            #binding-cells = <2>;
            tapping-term-ms = <200>;
            flavor = "tap-preferred";
            bindings = <&kp>, <&u_tapdelay_tap_U>;
        };
    };
};

/ {
    behaviors {
        u_tapdelay_lt_U: u_tapdelay_lt_U {
            compatible = "zmk,behavior-hold-tap";
            #binding-cells = <2>;
            tapping-term-ms = <200>;
            flavor = "tap-preferred";
            bindings = <&mo>, <&u_tapdelay_tap_U>;
        };
    };
};

/ {
    macros {
        u_tapdelay_tap_V: u_tapdelay_tap_V {
            compatible = "zmk,behavior-macro";
            #binding-cells = <0>;
            bindings = <&macro_press>, <&kp V>, <&macro_release>, <&kp V>;
        };
    };
};

/ {
    behaviors {
        u_tapdelay_mt_V: u_tapdelay_mt_V {
            compatible = "zmk,behavior-hold-tap";
            #binding-cells = <2>;
            tapping-term-ms = <200>;
            flavor = "tap-preferred";
            bindings = <&kp>, <&u_tapdelay_tap_V>;
        };
    };
};

/ {
    behaviors {
        u_tapdelay_lt_V: u_tapdelay_lt_V {
            compatible = "zmk,behavior-hold-tap";
            #binding-cells = <2>;
            tapping-term-ms = <200>;
            flavor = "tap-preferred";
            bindings = <&mo>, <&u_tapdelay_tap_V>;
        };
    };
};

/ {
    macros {
        u_tapdelay_tap_W: u_tapdelay_tap_W {
            compatible = "zmk,behavior-macro";
            #binding-cells = <0>;
            bindings = <&macro_press>, <&kp W>, <&macro_release>, <&kp W>;
        };
    };
};

/ {
    behaviors {
        u_tapdelay_mt_W: u_tapdelay_mt_W {
            compatible = "zmk,behavior-hold-tap";
            #binding-cells = <2>;
            tapping-term-ms = <200>;
            flavor = "tap-preferred";
            bindings = <&kp>, <&u_tapdelay_tap_W>;
        };
    };
};

/ {
    behaviors {
        u_tapdelay_lt_W: u_tapdelay_lt_W {
            compatible = "zmk,behavior-hold-tap";
            #binding-cells = <2>;
            tapping-term-ms = <200>;
            flavor = "tap-preferred";
            bindings = <&mo>, <&u_tapdelay_tap_W>;
        };
    };
};

/ {
    macros {
        u_tapdelay_tap_X: u_tapdelay_tap_X {
            compatible = "zmk,behavior-macro";
            #binding-cells = <0>;
            bindings = <&macro_press>, <&kp X>, <&macro_release>, <&kp X>;
        };
    };
};

/ {
    behaviors {
        u_tapdelay_mt_X: u_tapdelay_mt_X {
            compatible = "zmk,behavior-hold-tap";
            #binding-cells = <2>;
            tapping-term-ms = <200>;
            flavor = "tap-preferred";
            bindings = <&kp>, <&u_tapdelay_tap_X>;
        };
    };
};

/ {
    behaviors {
        u_tapdelay_lt_X: u_tapdelay_lt_X {
            compatible = "zmk,behavior-hold-tap";
            #binding-cells = <2>;
            tapping-term-ms = <200>;
            flavor = "tap-preferred";
            bindings = <&mo>, <&u_tapdelay_tap_X>;
        };
    };
};

/ {
    macros {
        u_tapdelay_tap_Y: u_tapdelay_tap_Y {
            compatible = "zmk,behavior-macro";
            #binding-cells = <0>;
            bindings = <&macro_press>, <&kp Y>, <&macro_release>, <&kp Y>;
        };
    };
};

/ {
    behaviors {
        u_tapdelay_mt_Y: u_tapdelay_mt_Y {
            compatible = "zmk,behavior-hold-tap";
            #binding-cells = <2>;
            tapping-term-ms = <200>;
            flavor = "tap-preferred";
            bindings = <&kp>, <&u_tapdelay_tap_Y>;
        };
    };
};

/ {
    behaviors {
        u_tapdelay_lt_Y: u_tapdelay_lt_Y {
            compatible = "zmk,behavior-hold-tap";
            #binding-cells = <2>;
            tapping-term-ms = <200>;
            flavor = "tap-preferred";
            bindings = <&mo>, <&u_tapdelay_tap_Y>;
        };
    };
};

/ {
    macros {
        u_tapdelay_tap_Z: u_tapdelay_tap_Z {
            compatible = "zmk,behavior-macro";
            #binding-cells = <0>;
            bindings = <&macro_press>, <&kp Z>, <&macro_release>, <&kp Z>;
        };
    };
};

/ {
    behaviors {
        u_tapdelay_mt_Z: u_tapdelay_mt_Z {
            compatible = "zmk,behavior-hold-tap";
            #binding-cells = <2>;
            tapping-term-ms = <200>;
            flavor = "tap-preferred";
            bindings = <&kp>, <&u_tapdelay_tap_Z>;
        };
    };
};

/ {
    behaviors {
        u_tapdelay_lt_Z: u_tapdelay_lt_Z {
            compatible = "zmk,behavior-hold-tap";
            #binding-cells = <2>;
            tapping-term-ms = <200>;
            flavor = "tap-preferred";
            bindings = <&mo>, <&u_tapdelay_tap_Z>;
        };
    };
};

/ {
    macros {
        u_tapdelay_tap_SQT: u_tapdelay_tap_SQT {
            compatible = "zmk,behavior-macro";
            #binding-cells = <0>;
            bindings = <&macro_press>, <&kp SQT>, <&macro_release>, <&kp SQT>;
        };
    };
};

/ {
    behaviors {
        u_tapdelay_mt_SQT: u_tapdelay_mt_SQT {
            compatible = "zmk,behavior-hold-tap";
            #binding-cells = <2>;
            tapping-term-ms = <200>;
            flavor = "tap-preferred";
            bindings = <&kp>, <&u_tapdelay_tap_SQT>;
        };
    };
};

/ {
    behaviors {
        u_tapdelay_lt_SQT: u_tapdelay_lt_SQT {
            compatible = "zmk,behavior-hold-tap";
            #binding-cells = <2>;
            tapping-term-ms = <200>;
            flavor = "tap-preferred";
            bindings = <&mo>, <&u_tapdelay_tap_SQT>;
        };
    };
};

/ {
    macros {
        u_tapdelay_tap_COMMA: u_tapdelay_tap_COMMA {
            compatible = "zmk,behavior-macro";
            #binding-cells = <0>;
            bindings =
                <&macro_press>,
                <&kp COMMA>,
                <&macro_release>,
                <&kp COMMA>;
        };
    };
};

/ {
    behaviors {
        u_tapdelay_mt_COMMA: u_tapdelay_mt_COMMA {
            compatible = "zmk,behavior-hold-tap";
            #binding-cells = <2>;
            tapping-term-ms = <200>;
            flavor = "tap-preferred";
            bindings = <&kp>, <&u_tapdelay_tap_COMMA>;
        };
    };
};

/ {
    behaviors {
        u_tapdelay_lt_COMMA: u_tapdelay_lt_COMMA {
            compatible = "zmk,behavior-hold-tap";
            #binding-cells = <2>;
            tapping-term-ms = <200>;
            flavor = "tap-preferred";
            bindings = <&mo>, <&u_tapdelay_tap_COMMA>;
        };
    };
};

/ {
    macros {
        u_tapdelay_tap_DOT: u_tapdelay_tap_DOT {
            compatible = "zmk,behavior-macro";
            #binding-cells = <0>;
            bindings = <&macro_press>, <&kp DOT>, <&macro_release>, <&kp DOT>;
        };
    };
};

/ {
    behaviors {
        u_tapdelay_mt_DOT: u_tapdelay_mt_DOT {
            compatible = "zmk,behavior-hold-tap";
            #binding-cells = <2>;
            tapping-term-ms = <200>;
            flavor = "tap-preferred";
            bindings = <&kp>, <&u_tapdelay_tap_DOT>;
        };
    };
};

/ {
    behaviors {
        u_tapdelay_lt_DOT: u_tapdelay_lt_DOT {
            compatible = "zmk,behavior-hold-tap";
            #binding-cells = <2>;
            tapping-term-ms = <200>;
            flavor = "tap-preferred";
            bindings = <&mo>, <&u_tapdelay_tap_DOT>;
        };
    };
};

/ {
    macros {
        u_tapdelay_tap_SLASH: u_tapdelay_tap_SLASH {
            compatible = "zmk,behavior-macro";
            #binding-cells = <0>;
            bindings =
                <&macro_press>,
                <&kp SLASH>,
                <&macro_release>,
                <&kp SLASH>;
        };
    };
};

/ {
    behaviors {
        u_tapdelay_mt_SLASH: u_tapdelay_mt_SLASH {
            compatible = "zmk,behavior-hold-tap";
            #binding-cells = <2>;
            tapping-term-ms = <200>;
            flavor = "tap-preferred";
            bindings = <&kp>, <&u_tapdelay_tap_SLASH>;
        };
    };
};

/ {
    behaviors {
        u_tapdelay_lt_SLASH: u_tapdelay_lt_SLASH {
            compatible = "zmk,behavior-hold-tap";
            #binding-cells = <2>;
            tapping-term-ms = <200>;
            flavor = "tap-preferred";
            bindings = <&mo>, <&u_tapdelay_tap_SLASH>;
        };
    };
};

/ {
    macros {
        u_tapdelay_tap_ESC: u_tapdelay_tap_ESC {
            compatible = "zmk,behavior-macro";
            #binding-cells = <0>;
            bindings = <&macro_press>, <&kp ESC>, <&macro_release>, <&kp ESC>;
        };
    };
};

/ {
    behaviors {
        u_tapdelay_mt_ESC: u_tapdelay_mt_ESC {
            compatible = "zmk,behavior-hold-tap";
            #binding-cells = <2>;
            tapping-term-ms = <200>;
            flavor = "tap-preferred";
            bindings = <&kp>, <&u_tapdelay_tap_ESC>;
        };
    };
};

/ {
    behaviors {
        u_tapdelay_lt_ESC: u_tapdelay_lt_ESC {
            compatible = "zmk,behavior-hold-tap";
            #binding-cells = <2>;
            tapping-term-ms = <200>;
            flavor = "tap-preferred";
            bindings = <&mo>, <&u_tapdelay_tap_ESC>;
        };
    };
};

/ {
    macros {
        u_tapdelay_tap_SPACE: u_tapdelay_tap_SPACE {
            compatible = "zmk,behavior-macro";
            #binding-cells = <0>;
            bindings =
                <&macro_press>,
                <&kp SPACE>,
                <&macro_release>,
                <&kp SPACE>;
        };
    };
};

/ {
    behaviors {
        u_tapdelay_mt_SPACE: u_tapdelay_mt_SPACE {
            compatible = "zmk,behavior-hold-tap";
            #binding-cells = <2>;
            tapping-term-ms = <200>;
            flavor = "tap-preferred";
            bindings = <&kp>, <&u_tapdelay_tap_SPACE>;
        };
    };
};

/ {
    behaviors {
        u_tapdelay_lt_SPACE: u_tapdelay_lt_SPACE {
            compatible = "zmk,behavior-hold-tap";
            #binding-cells = <2>;
            tapping-term-ms = <200>;
            flavor = "tap-preferred";
            bindings = <&mo>, <&u_tapdelay_tap_SPACE>;
        };
    };
};

/ {
    macros {
        u_tapdelay_tap_TAB: u_tapdelay_tap_TAB {
            compatible = "zmk,behavior-macro";
            #binding-cells = <0>;
            bindings = <&macro_press>, <&kp TAB>, <&macro_release>, <&kp TAB>;
        };
    };
};

/ {
    behaviors {
        u_tapdelay_mt_TAB: u_tapdelay_mt_TAB {
            compatible = "zmk,behavior-hold-tap";
            #binding-cells = <2>;
            tapping-term-ms = <200>;
            flavor = "tap-preferred";
            bindings = <&kp>, <&u_tapdelay_tap_TAB>;
        };
    };
};

/ {
    behaviors {
        u_tapdelay_lt_TAB: u_tapdelay_lt_TAB {
            compatible = "zmk,behavior-hold-tap";
            #binding-cells = <2>;
            tapping-term-ms = <200>;
            flavor = "tap-preferred";
            bindings = <&mo>, <&u_tapdelay_tap_TAB>;
        };
    };
};

/ {
    macros {
        u_tapdelay_tap_RET: u_tapdelay_tap_RET {
            compatible = "zmk,behavior-macro";
            #binding-cells = <0>;
            bindings = <&macro_press>, <&kp RET>, <&macro_release>, <&kp RET>;
        };
    };
};

/ {
    behaviors {
        u_tapdelay_mt_RET: u_tapdelay_mt_RET {
            compatible = "zmk,behavior-hold-tap";
            #binding-cells = <2>;
            tapping-term-ms = <200>;
            flavor = "tap-preferred";
            bindings = <&kp>, <&u_tapdelay_tap_RET>;
        };
    };
};

/ {
    behaviors {
        u_tapdelay_lt_RET: u_tapdelay_lt_RET {
            compatible = "zmk,behavior-hold-tap";
            #binding-cells = <2>;
            tapping-term-ms = <200>;
            flavor = "tap-preferred";
            bindings = <&mo>, <&u_tapdelay_tap_RET>;
        };
    };
};

/ {
    macros {
        u_tapdelay_tap_BSPC: u_tapdelay_tap_BSPC {
            compatible = "zmk,behavior-macro";
            #binding-cells = <0>;
            bindings = <&macro_press>, <&kp BSPC>, <&macro_release>, <&kp BSPC>;
        };
    };
};

/ {
    behaviors {
        u_tapdelay_mt_BSPC: u_tapdelay_mt_BSPC {
            compatible = "zmk,behavior-hold-tap";
            #binding-cells = <2>;
            tapping-term-ms = <200>;
            flavor = "tap-preferred";
            bindings = <&kp>, <&u_tapdelay_tap_BSPC>;
        };
    };
};

/ {
    behaviors {
        u_tapdelay_lt_BSPC: u_tapdelay_lt_BSPC {
            compatible = "zmk,behavior-hold-tap";
            #binding-cells = <2>;
            tapping-term-ms = <200>;
            flavor = "tap-preferred";
            bindings = <&mo>, <&u_tapdelay_tap_BSPC>;
        };
    };
};

/ {
    macros {
        u_tapdelay_tap_DEL: u_tapdelay_tap_DEL {
            compatible = "zmk,behavior-macro";
            #binding-cells = <0>;
            bindings = <&macro_press>, <&kp DEL>, <&macro_release>, <&kp DEL>;
        };

        c_c: c_c {
            compatible = "zmk,behavior-macro";
            #binding-cells = <0>;
            bindings = <&kp LC(C)>;
            label = "C_C";
        };

        c_v: c_v {
            compatible = "zmk,behavior-macro";
            #binding-cells = <0>;
            bindings = <&kp LC(V)>;
            label = "C_V";
        };
    };
};

/ {
    behaviors {
        u_tapdelay_mt_DEL: u_tapdelay_mt_DEL {
            compatible = "zmk,behavior-hold-tap";
            #binding-cells = <2>;
            tapping-term-ms = <200>;
            flavor = "tap-preferred";
            bindings = <&kp>, <&u_tapdelay_tap_DEL>;
        };
    };
};

/ {
    behaviors {
        u_tapdelay_lt_DEL: u_tapdelay_lt_DEL {
            compatible = "zmk,behavior-hold-tap";
            #binding-cells = <2>;
            tapping-term-ms = <200>;
            flavor = "tap-preferred";
            bindings = <&mo>, <&u_tapdelay_tap_DEL>;
        };
    };
};
